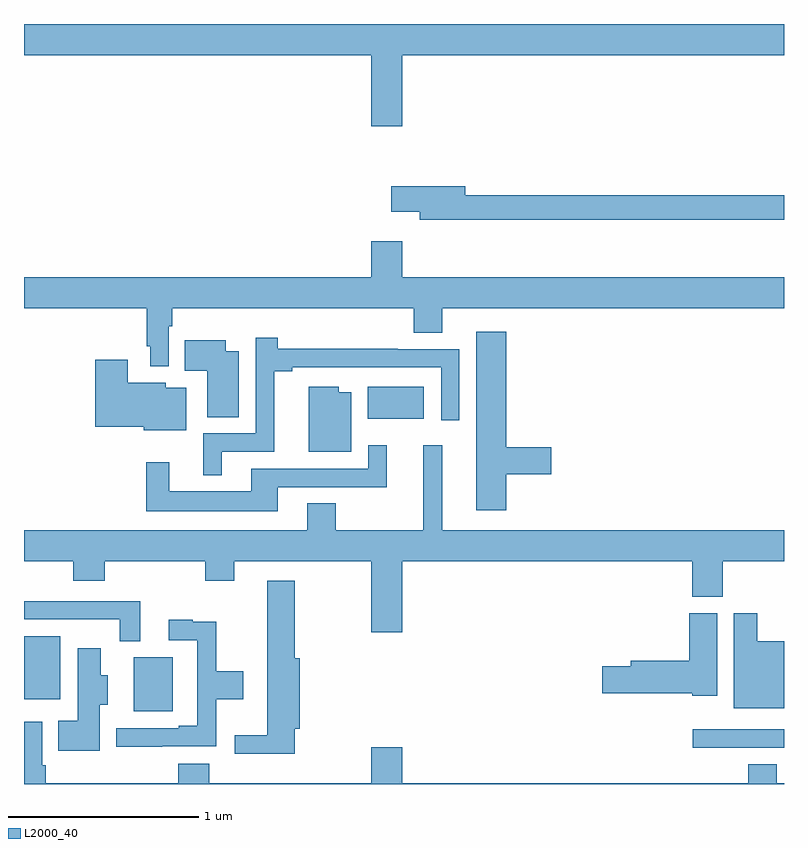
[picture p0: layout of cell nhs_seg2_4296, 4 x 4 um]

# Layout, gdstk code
import gdstk
lib = gdstk.Library(unit=1e-6, precision=1e-09)
def R(c, l, rs):  # rectangles x0, y0, x1, y1
    for r in rs: c.add(gdstk.rectangle(r[:2], r[2:], *l))
def P(c, l, *ps):  # polygons
    for p in ps: c.add(gdstk.Polygon(p, *l))
L2000_40 = (2000, 40)

nhs_seg2_4296 = lib.new_cell('nhs_seg2_4296')
R(nhs_seg2_4296, L2000_40, [(346.521,643.992,347,644.088), (343.577,644.183,343.783,644.467), (343,644.246,343.192,644.578), (344.81,645.722,345.103,645.892)])
P(nhs_seg2_4296, L2000_40, [(344.992,647.636),(347,647.636),(347,647.8),(343,647.8),(343,647.636),(344.828,647.636),(344.828,647.262),(344.992,647.262)],
  [(347,646.898),(345.322,646.898),(345.322,646.946),(344.934,646.946),(344.934,646.811),(345.083,646.811),(345.083,646.77),(347,646.77)],
  [(343.761,646.208),(343.781,646.208),(343.781,646.304),(345.05,646.304),(345.05,646.174),(345.202,646.174),(345.202,646.304),(347,646.304),(347,646.468),(344.992,646.468),(344.992,646.657),(344.828,646.657),(344.828,646.468),(343,646.468),(343,646.304),(343.645,646.304),(343.645,646.105),(343.665,646.105),(343.665,645.998),(343.761,645.998)],
  [(345.539,645.43),(345.775,645.43),(345.775,645.572),(345.539,645.572),(345.539,646.18),(345.38,646.18),(345.38,645.24),(345.539,645.24)],
  [(344.041,645.549),(344.318,645.549),(344.318,645.973),(344.413,645.973),(344.413,645.993),(345.195,645.993),(345.195,645.714),(345.291,645.714),(345.291,646.089),(344.966,646.089),(344.966,646.091),(344.336,646.091),(344.336,646.15),(344.22,646.15),(344.22,645.645),(343.943,645.645),(343.943,645.425),(344.041,645.425)],
  [(344.131,646.078),(344.062,646.078),(344.062,646.135),(343.846,646.135),(343.846,645.974),(343.964,645.974),(343.964,645.73),(344.131,645.73)],
  [(343.855,645.886),(343.746,645.886),(343.746,645.913),(343.546,645.913),(343.546,646.033),(343.376,646.033),(343.376,645.68),(343.629,645.68),(343.629,645.662),(343.855,645.662)],
  [(344.722,645.862),(344.656,645.862),(344.656,645.892),(344.498,645.892),(344.498,645.548),(344.722,645.548)],
  [(344.335,645.363),(344.909,645.363),(344.909,645.583),(344.811,645.583),(344.811,645.459),(344.195,645.459),(344.195,645.34),(343.765,645.34),(343.765,645.493),(343.644,645.493),(343.644,645.236),(344.335,645.236)],
  [(344.992,644.972),(346.517,644.972),(346.517,644.785),(346.677,644.785),(346.677,644.972),(347,644.972),(347,645.136),(345.2,645.136),(345.2,645.583),(345.101,645.583),(345.101,645.136),(344.64,645.136),(344.64,645.278),(344.492,645.278),(344.492,645.136),(343,645.136),(343,644.972),(343.259,644.972),(343.259,644.87),(343.424,644.87),(343.424,644.972),(343.955,644.972),(343.955,644.87),(344.107,644.87),(344.107,644.972),(344.828,644.972),(344.828,644.598),(344.992,644.598)],
  [(344.424,644.091),(344.45,644.091),(344.45,644.463),(344.424,644.463),(344.424,644.869),(344.279,644.869),(344.279,644.057),(344.109,644.057),(344.109,643.958),(344.424,643.958)],
  [(343.612,644.763),(343,644.763),(343,644.667),(343.288,644.667),(343.288,644.666),(343.503,644.666),(343.503,644.552),(343.612,644.552)],
  [(346.648,644.7),(346.502,644.7),(346.502,644.45),(346.193,644.45),(346.193,644.42),(346.044,644.42),(346.044,644.278),(346.518,644.278),(346.518,644.264),(346.648,644.264)],
  [(347,644.551),(346.858,644.551),(346.858,644.698),(346.736,644.698),(346.736,644.198),(347,644.198)],
  [(343.727,643.998),(344.012,643.998),(344.012,644.246),(344.155,644.246),(344.155,644.394),(344.012,644.394),(344.012,644.654),(343.889,644.654),(343.889,644.665),(343.761,644.665),(343.761,644.556),(343.911,644.556),(343.911,644.107),(343.814,644.107),(343.814,644.094),(343.485,644.094),(343.485,643.997),(343.727,643.997)],
  [(343.399,644.218),(343.441,644.218),(343.441,644.373),(343.405,644.373),(343.405,644.515),(343.283,644.515),(343.283,644.134),(343.18,644.134),(343.18,643.976),(343.399,643.976)],
  [(343,644.128),(343,643.8),(347,643.8),(347,643.804),(346.963,643.804),(346.963,643.903),(346.811,643.903),(346.811,643.804),(344.992,643.804),(344.992,643.993),(344.828,643.993),(344.828,643.804),(343.976,643.804),(343.976,643.906),(343.811,643.906),(343.811,643.804),(343.115,643.804),(343.115,643.9),(343.095,643.9),(343.095,644.128)])

lib.write_gds('nhs_seg2_4296.gds')
